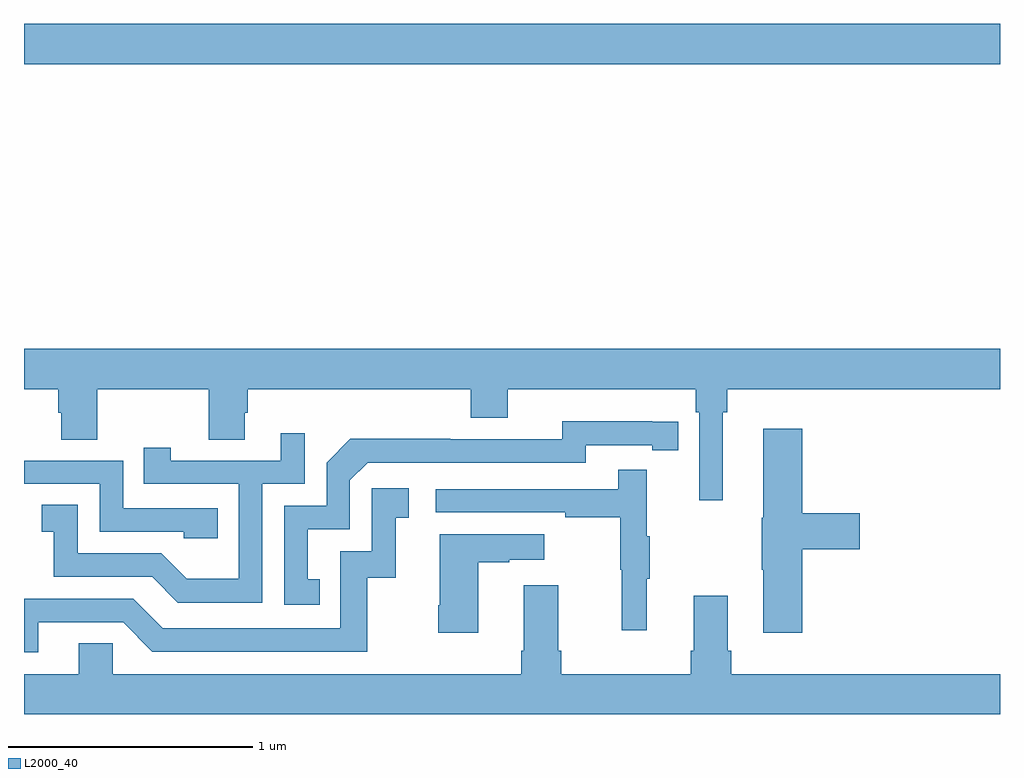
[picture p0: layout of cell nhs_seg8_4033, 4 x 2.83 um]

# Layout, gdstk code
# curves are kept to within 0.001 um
import gdstk
lib = gdstk.Library(unit=1e-6, precision=1e-09)
def R(c, l, rs):  # rectangles x0, y0, x1, y1
    for r in rs: c.add(gdstk.rectangle(r[:2], r[2:], *l))
def P(c, l, *ps):  # polygons
    for p in ps: c.add(gdstk.Polygon(p, *l))
L2000_40 = (2000, 40)

nhs_seg8_4033 = lib.new_cell('nhs_seg8_4033')
R(nhs_seg8_4033, L2000_40, [(359,1107.176,363,1107.34)])
P(nhs_seg8_4033, L2000_40, [(361.864,1105.748),(361.883,1105.748),(361.883,1105.844),(363,1105.844),(363,1106.008),(359,1106.008),(359,1105.844),(359.141,1105.844),(359.141,1105.746),(359.153,1105.746),(359.153,1105.636),(359.301,1105.636),(359.301,1105.844),(359.758,1105.844),(359.758,1105.636),(359.905,1105.636),(359.905,1105.746),(359.918,1105.746),(359.918,1105.844),(360.83,1105.844),(360.83,1105.727),(360.982,1105.727),(360.982,1105.844),(361.754,1105.844),(361.754,1105.748),(361.767,1105.748),(361.767,1105.389),(361.864,1105.389)],
  [(360.212,1105.065),(360.163,1105.065),(360.163,1105.269),(360.336,1105.269),(360.336,1105.47),(360.408,1105.542),(361.302,1105.542),(361.302,1105.614),(361.574,1105.614),(361.574,1105.594),(361.682,1105.594),(361.682,1105.71),(361.206,1105.711),(361.206,1105.638),(360.746,1105.638),(360.746,1105.64),(360.338,1105.64),(360.24,1105.542),(360.24,1105.365),(360.066,1105.365),(360.066,1104.96),(360.212,1104.96)],
  [(362.189,1105.187),(362.425,1105.187),(362.425,1105.334),(362.189,1105.334),(362.189,1105.681),(362.03,1105.681),(362.03,1105.317),(362.023,1105.317),(362.023,1105.103),(362.03,1105.103),(362.03,1104.846),(362.189,1104.846)],
  [(359.976,1105.455),(360.15,1105.455),(360.15,1105.663),(360.053,1105.663),(360.053,1105.551),(359.602,1105.551),(359.602,1105.603),(359.491,1105.603),(359.491,1105.455),(359.88,1105.455),(359.88,1105.066),(359.666,1105.066),(359.562,1105.17),(359.22,1105.17),(359.22,1105.369),(359.073,1105.369),(359.073,1105.259),(359.122,1105.259),(359.122,1105.074),(359.525,1105.074),(359.63,1104.969),(359.976,1104.969)],
  [(359.795,1105.356),(359.406,1105.356),(359.406,1105.551),(359,1105.551),(359,1105.455),(359.31,1105.455),(359.31,1105.26),(359.655,1105.26),(359.655,1105.233),(359.795,1105.233)],
  [(361.553,1105.067),(361.564,1105.067),(361.564,1105.241),(361.553,1105.241),(361.553,1105.513),(361.435,1105.513),(361.435,1105.434),(360.687,1105.434),(360.687,1105.338),(361.219,1105.338),(361.219,1105.318),(361.443,1105.318),(361.443,1105.104),(361.45,1105.104),(361.45,1104.855),(361.553,1104.855)],
  [(359.059,1104.888),(359.406,1104.888),(359.526,1104.768),(360.406,1104.768),(360.406,1105.071),(360.524,1105.071),(360.524,1105.317),(360.577,1105.317),(360.577,1105.438),(360.426,1105.438),(360.426,1105.179),(360.297,1105.179),(360.297,1104.864),(359.568,1104.864),(359.448,1104.984),(359,1104.984),(359,1104.765),(359.059,1104.765)],
  [(360.862,1105.135),(360.989,1105.135),(360.989,1105.145),(361.132,1105.145),(361.132,1105.249),(360.704,1105.249),(360.704,1104.958),(360.697,1104.958),(360.697,1104.846),(360.862,1104.846)],
  [(363,1104.676),(361.898,1104.676),(361.898,1104.772),(361.885,1104.772),(361.885,1104.997),(361.745,1104.997),(361.745,1104.772),(361.733,1104.772),(361.733,1104.676),(361.202,1104.676),(361.202,1104.772),(361.189,1104.772),(361.189,1105.039),(361.049,1105.039),(361.049,1104.772),(361.037,1104.772),(361.037,1104.676),(359.364,1104.676),(359.364,1104.803),(359.225,1104.803),(359.225,1104.676),(359,1104.676),(359,1104.512),(363,1104.512)])

lib.write_gds('nhs_seg8_4033.gds')
